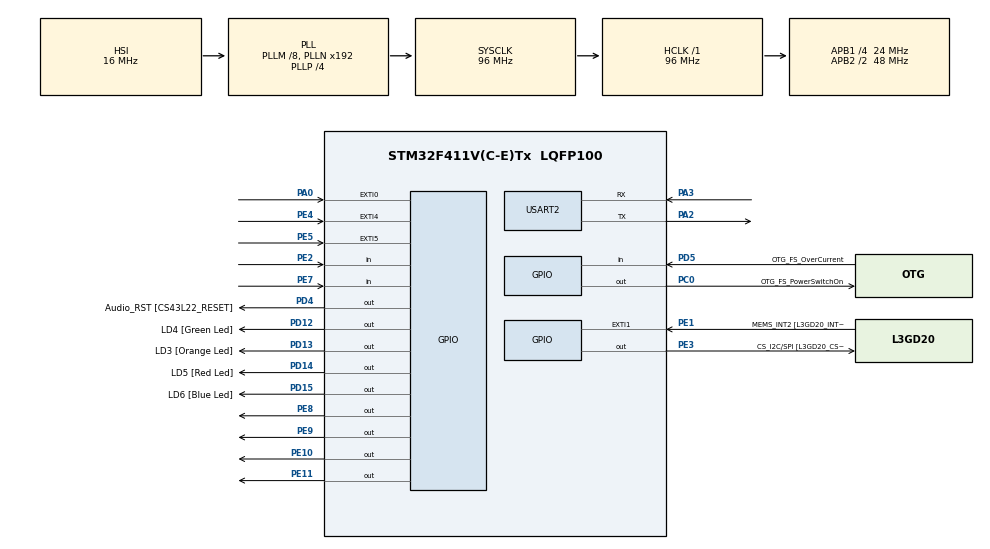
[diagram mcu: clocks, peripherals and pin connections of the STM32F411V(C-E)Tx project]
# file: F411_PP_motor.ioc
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Mcu.Family=STM32F4
Mcu.Name=STM32F411V(C-E)Tx
Mcu.Package=LQFP100
NVIC.PriorityGroup=NVIC_PRIORITYGROUP_0
PA0-WKUP.GPIO_ModeDefaultEXTI=GPIO_MODE_EVT_RISING
PA0-WKUP.Signal=GPXTI0
PA10.GPIO_Label=OTG_FS_ID
PA10.Signal=USB_OTG_FS_ID
PA11.GPIO_Label=OTG_FS_DM
PA11.Signal=USB_OTG_FS_DM
PA12.GPIO_Label=OTG_FS_DP
PA12.Signal=USB_OTG_FS_DP
PA13.GPIO_Label=SWDIO
PA13.Signal=SYS_JTMS-SWDIO
PA14.GPIO_Label=SWCLK
PA14.Signal=SYS_JTCK-SWCLK
PA2.Mode=Asynchronous
PA2.Signal=USART2_TX
PA3.Mode=Asynchronous
PA3.Signal=USART2_RX
PA4.GPIO_Label=I2S3_WS [CS43L22_LRCK]
PA4.GPIO_Mode=GPIO_MODE_AF_PP
PA4.GPIO_PuPd=GPIO_NOPULL
PA4.GPIO_Speed=GPIO_SPEED_FREQ_LOW
PA4.Signal=I2S3_WS
PA5.GPIO_Label=SPI1_SCK [L3GD20_SC/SPC]
PA5.Signal=SPI1_SCK
PA6.GPIO_Label=SPI1_MISO [L3GD20_AS0/SDO]
PA6.Signal=SPI1_MISO
PA7.GPIO_Label=SPI1_MOSI [L3GD20_SDA/SDI/SDO]
PA7.Signal=SPI1_MOSI
PA9.GPIO_Label=VBUS_FS
PA9.Signal=USB_OTG_FS_VBUS
PB10.GPIO_Label=CLK_IN [MP45DT02_CLK]
PB10.Signal=I2S2_CK
PB12.Signal=I2S2_WS
PB3.GPIO_Label=SWO
PB3.Signal=SYS_JTDO-SWO
PB6.GPIO_Label=Audio_SCL [CS43L22_SCL]
PB6.GPIO_Mode=GPIO_MODE_AF_OD
PB6.GPIO_PuPd=GPIO_NOPULL
PB6.GPIO_Speed=GPIO_SPEED_FREQ_LOW
PB6.Signal=I2C1_SCL
PB9.GPIO_Label=Audio_SDA [CS43L22_SDA]
PB9.GPIO_Mode=GPIO_MODE_AF_OD
PB9.GPIO_PuPd=GPIO_NOPULL
PB9.GPIO_Speed=GPIO_SPEED_FREQ_LOW
PB9.Signal=I2C1_SDA
PC0.GPIO_Label=OTG_FS_PowerSwitchOn
PC0.PinState=GPIO_PIN_SET
PC0.Signal=GPIO_Output
PC10.GPIO_Label=I2S3_SCK [CS43L22_SCLK]
PC10.GPIO_Mode=GPIO_MODE_AF_PP
PC10.GPIO_PuPd=GPIO_NOPULL
PC10.GPIO_Speed=GPIO_SPEED_FREQ_LOW
PC10.Signal=I2S3_CK
PC12.GPIO_Label=I2S3_SD [CS43L22_SDIN]
PC12.GPIO_Mode=GPIO_MODE_AF_PP
PC12.GPIO_PuPd=GPIO_NOPULL
PC12.GPIO_Speed=GPIO_SPEED_FREQ_LOW
PC12.Signal=I2S3_SD
PC14-OSC32_IN.GPIO_Label=PC14-OSC32_IN
PC14-OSC32_IN.Signal=RCC_OSC32_IN
PC15-OSC32_OUT.GPIO_Label=PC15-OSC32_OUT
PC15-OSC32_OUT.Signal=RCC_OSC32_OUT
PC3.GPIO_Label=PDM_OUT [MP45DT02_DOUT]
PC3.Signal=I2S2_SD
PC7.GPIO_Label=I2S3_MCK [CS43L22_MCLK]
PC7.GPIO_Mode=GPIO_MODE_AF_PP
PC7.GPIO_PuPd=GPIO_NOPULL
PC7.GPIO_Speed=GPIO_SPEED_FREQ_LOW
PC7.Signal=I2S3_MCK
PD12.GPIO_Label=LD4 [Green Led]
PD12.GPIO_PuPd=GPIO_NOPULL
PD12.GPIO_Speed=GPIO_SPEED_FREQ_LOW
PD12.Signal=GPIO_Output
PD13.GPIO_Label=LD3 [Orange Led]
PD13.GPIO_PuPd=GPIO_NOPULL
PD13.GPIO_Speed=GPIO_SPEED_FREQ_LOW
PD13.Signal=GPIO_Output
PD14.GPIO_Label=LD5 [Red Led]
PD14.GPIO_PuPd=GPIO_NOPULL
PD14.GPIO_Speed=GPIO_SPEED_FREQ_LOW
PD14.Signal=GPIO_Output
PD15.GPIO_Label=LD6 [Blue Led]
PD15.GPIO_PuPd=GPIO_NOPULL
PD15.GPIO_Speed=GPIO_SPEED_FREQ_LOW
PD15.Signal=GPIO_Output
PD4.GPIO_Label=Audio_RST [CS43L22_RESET]
PD4.Signal=GPIO_Output
PD5.GPIO_Label=OTG_FS_OverCurrent
PD5.Signal=GPIO_Input
PE1.GPIO_Label=MEMS_INT2 [L3GD20_INT2]
PE1.GPIO_ModeDefaultEXTI=GPIO_MODE_EVT_RISING
PE1.Signal=GPXTI1
PE10.Signal=GPIO_Output
PE11.Signal=GPIO_Output
PE2.Signal=GPIO_Input
PE3.GPIO_Label=CS_I2C/SPI [L3GD20_CS_I2C/SPI]
PE3.Signal=GPIO_Output
PE4.GPIO_ModeDefaultEXTI=GPIO_MODE_EVT_RISING
PE4.Signal=GPXTI4
PE5.GPIO_ModeDefaultEXTI=GPIO_MODE_EVT_RISING
PE5.Signal=GPXTI5
PE7.Signal=GPIO_Input
PE8.Signal=GPIO_Output
PE9.Signal=GPIO_Output
PH0\ -\ OSC_IN.GPIO_Label=PH0-OSC_IN
PH0\ -\ OSC_IN.Signal=RCC_OSC_IN
PH1\ -\ OSC_OUT.GPIO_Label=PH1-OSC_OUT
PH1\ -\ OSC_OUT.Signal=RCC_OSC_OUT
ProjectManager.HeapSize=0x200
ProjectManager.StackSize=0x400
ProjectManager.TargetToolchain=STM32CubeIDE
RCC.48MHZClocksFreq_Value=48000000
RCC.AHBFreq_Value=96000000
RCC.APB1CLKDivider=RCC_HCLK_DIV4
RCC.APB1Freq_Value=24000000
RCC.APB1TimFreq_Value=48000000
RCC.APB2CLKDivider=RCC_HCLK_DIV2
RCC.APB2Freq_Value=48000000
RCC.APB2TimFreq_Value=96000000
RCC.CortexFreq_Value=96000000
RCC.HCLKFreq_Value=96000000
RCC.HSE_VALUE=8000000
RCC.HSI_VALUE=16000000
RCC.LSE_VALUE=32768
RCC.PLLI2SM=5
RCC.PLLI2SN=200
RCC.PLLM=8
RCC.PLLP=RCC_PLLP_DIV4
RCC.PLLQ=8
RCC.SYSCLKFreq_VALUE=96000000
RCC.SYSCLKSource=RCC_SYSCLKSOURCE_PLLCLK
RCC.VCOOutputFreq_Value=384000000
USART2.VirtualMode=VM_ASYNC
board=STM32F411E-DISCO

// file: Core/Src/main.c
/* USER CODE BEGIN Header */
/**
  ******************************************************************************
  * @file           : main.c
  * @brief          : Main program body
  ******************************************************************************
  * @attention
  *
  * Copyright (c) 2022 STMicroelectronics.
  * All rights reserved.
  *
  * This software is licensed under terms that can be found in the LICENSE file
  * in the root directory of this software component.
  * If no LICENSE file comes with this software, it is provided AS-IS.
  *
  ******************************************************************************
  */
/* USER CODE END Header */
#include "main.h"

/* USER CODE BEGIN Includes */
#include "stdio.h"
#include "string.h"
/* USER CODE END Includes */

UART_HandleTypeDef huart2;

/* USER CODE BEGIN PV */
uint8_t stato = 0;
float angolo = 0;
char msg[60];

/* USER CODE END PV */

void SystemClock_Config(void);
static void MX_GPIO_Init(void);
static void MX_USART2_UART_Init(void);
/* USER CODE BEGIN PFP */

void taratura (void); // funzione taratura

/* USER CODE END PFP */

int main(void)
{

  /* MCU Configuration--------------------------------------------------------*/

  /* Reset of all peripherals, Initializes the Flash interface and the Systick. */
  HAL_Init();

  /* Configure the system clock */
  SystemClock_Config();

  /* Initialize all configured peripherals */
  MX_GPIO_Init();
  MX_USART2_UART_Init();
  /* USER CODE BEGIN 2 */

  taratura();

  /* USER CODE END 2 */

  /* Infinite loop */
  while (1)
  {

    /* USER CODE BEGIN 3 */

	  		  HAL_Delay(10);
	  		  switch (stato){
	  		  case 0:
	  		  	  HAL_GPIO_WritePin(GPIOE, GPIO_PIN_8, GPIO_PIN_SET);
	  		  	  HAL_GPIO_WritePin(GPIOE, GPIO_PIN_9, GPIO_PIN_RESET);
	  		  	  HAL_GPIO_WritePin(GPIOE, GPIO_PIN_10, GPIO_PIN_RESET);
	  		  	  HAL_GPIO_WritePin(GPIOE, GPIO_PIN_11, GPIO_PIN_RESET);
	  		  	  break;
	  		  case 1:
	  		  	  HAL_GPIO_WritePin(GPIOE, GPIO_PIN_8, GPIO_PIN_SET);
	  		  	  HAL_GPIO_WritePin(GPIOE, GPIO_PIN_9, GPIO_PIN_SET);
	  		  	  HAL_GPIO_WritePin(GPIOE, GPIO_PIN_10, GPIO_PIN_RESET);
	  		  	  HAL_GPIO_WritePin(GPIOE, GPIO_PIN_11, GPIO_PIN_RESET);
	  		  	  break;
	  		  case 2:
	  		  	  HAL_GPIO_WritePin(GPIOE, GPIO_PIN_8, GPIO_PIN_RESET);
	  		  	  HAL_GPIO_WritePin(GPIOE, GPIO_PIN_9, GPIO_PIN_SET);
	  		  	  HAL_GPIO_WritePin(GPIOE, GPIO_PIN_10, GPIO_PIN_RESET);
	  		  	  HAL_GPIO_WritePin(GPIOE, GPIO_PIN_11, GPIO_PIN_RESET);
	  		  	  break;
	  		  case 3:
	  		  	  HAL_GPIO_WritePin(GPIOE, GPIO_PIN_8, GPIO_PIN_RESET);
	  		  	  HAL_GPIO_WritePin(GPIOE, GPIO_PIN_9, GPIO_PIN_SET);
	  		  	  HAL_GPIO_WritePin(GPIOE, GPIO_PIN_10, GPIO_PIN_SET);
	  		  	  HAL_GPIO_WritePin(GPIOE, GPIO_PIN_11, GPIO_PIN_RESET);
	  		  	  break;
	  		  case 4:
	  		  	  HAL_GPIO_WritePin(GPIOE, GPIO_PIN_8, GPIO_PIN_RESET);
	  		  	  HAL_GPIO_WritePin(GPIOE, GPIO_PIN_9, GPIO_PIN_RESET);
	  		  	  HAL_GPIO_WritePin(GPIOE, GPIO_PIN_10, GPIO_PIN_SET);
	  		  	  HAL_GPIO_WritePin(GPIOE, GPIO_PIN_11, GPIO_PIN_RESET);
	  		  	  break;
	  		  case 5:
	  		  	  HAL_GPIO_WritePin(GPIOE, GPIO_PIN_8, GPIO_PIN_RESET);
	  		  	  HAL_GPIO_WritePin(GPIOE, GPIO_PIN_9, GPIO_PIN_RESET);
	  		  	  HAL_GPIO_WritePin(GPIOE, GPIO_PIN_10, GPIO_PIN_SET);
	  		  	  HAL_GPIO_WritePin(GPIOE, GPIO_PIN_11, GPIO_PIN_SET);
	  		  	  break;
	  		  case 6:
	  		  	  HAL_GPIO_WritePin(GPIOE, GPIO_PIN_8, GPIO_PIN_RESET);
	  		  	  HAL_GPIO_WritePin(GPIOE, GPIO_PIN_9, GPIO_PIN_RESET);
	  		  	  HAL_GPIO_WritePin(GPIOE, GPIO_PIN_10, GPIO_PIN_RESET);
	  		  	  HAL_GPIO_WritePin(GPIOE, GPIO_PIN_11, GPIO_PIN_SET);
	  		  	  break;
	  		  case 7:
	  		  	  HAL_GPIO_WritePin(GPIOE, GPIO_PIN_8, GPIO_PIN_SET);
	  		  	  HAL_GPIO_WritePin(GPIOE, GPIO_PIN_9, GPIO_PIN_RESET);
	  		  	  HAL_GPIO_WritePin(GPIOE, GPIO_PIN_10, GPIO_PIN_RESET);
	  		  	  HAL_GPIO_WritePin(GPIOE, GPIO_PIN_11, GPIO_PIN_SET);
	  		  	  break;
	  	}
	  		  (stato > 7) ? (stato = 0): (stato=stato+1);

	  		  (angolo > 360) ? (angolo = 0): (angolo=angolo+0.08789);

	  		  if (HAL_GPIO_ReadPin(GPIOE, GPIO_PIN_7))
			{
				sprintf(msg, "%f \n\n", angolo);
				HAL_UART_Transmit(&huart2,(uint8_t*)msg, strlen(msg), HAL_MAX_DELAY);
			}

  }
  /* USER CODE END 3 */
}

void SystemClock_Config(void)
{
  RCC_OscInitTypeDef RCC_OscInitStruct = {0};
  RCC_ClkInitTypeDef RCC_ClkInitStruct = {0};

  /** Configure the main internal regulator output voltage
  */
  __HAL_RCC_PWR_CLK_ENABLE();
  __HAL_PWR_VOLTAGESCALING_CONFIG(PWR_REGULATOR_VOLTAGE_SCALE1);
  /** Initializes the RCC Oscillators according to the specified parameters
  * in the RCC_OscInitTypeDef structure.
  */
  RCC_OscInitStruct.OscillatorType = RCC_OSCILLATORTYPE_HSI;
  RCC_OscInitStruct.HSIState = RCC_HSI_ON;
  RCC_OscInitStruct.HSICalibrationValue = RCC_HSICALIBRATION_DEFAULT;
  RCC_OscInitStruct.PLL.PLLState = RCC_PLL_ON;
  RCC_OscInitStruct.PLL.PLLSource = RCC_PLLSOURCE_HSI;
  RCC_OscInitStruct.PLL.PLLM = 8;
  RCC_OscInitStruct.PLL.PLLN = 192;
  RCC_OscInitStruct.PLL.PLLP = RCC_PLLP_DIV4;
  RCC_OscInitStruct.PLL.PLLQ = 8;
  if (HAL_RCC_OscConfig(&RCC_OscInitStruct) != HAL_OK)
  {
    Error_Handler();
  }
  /** Initializes the CPU, AHB and APB buses clocks
  */
  RCC_ClkInitStruct.ClockType = RCC_CLOCKTYPE_HCLK|RCC_CLOCKTYPE_SYSCLK
                              |RCC_CLOCKTYPE_PCLK1|RCC_CLOCKTYPE_PCLK2;
  RCC_ClkInitStruct.SYSCLKSource = RCC_SYSCLKSOURCE_PLLCLK;
  RCC_ClkInitStruct.AHBCLKDivider = RCC_SYSCLK_DIV1;
  RCC_ClkInitStruct.APB1CLKDivider = RCC_HCLK_DIV4;
  RCC_ClkInitStruct.APB2CLKDivider = RCC_HCLK_DIV2;

  if (HAL_RCC_ClockConfig(&RCC_ClkInitStruct, FLASH_LATENCY_3) != HAL_OK)
  {
    Error_Handler();
  }
}

static void MX_USART2_UART_Init(void)
{

  huart2.Instance = USART2;
  huart2.Init.BaudRate = 115200;
  huart2.Init.WordLength = UART_WORDLENGTH_8B;
  huart2.Init.StopBits = UART_STOPBITS_1;
  huart2.Init.Parity = UART_PARITY_NONE;
  huart2.Init.Mode = UART_MODE_TX_RX;
  huart2.Init.HwFlowCtl = UART_HWCONTROL_NONE;
  huart2.Init.OverSampling = UART_OVERSAMPLING_16;
  if (HAL_UART_Init(&huart2) != HAL_OK)
  {
    Error_Handler();
  }

}

static void MX_GPIO_Init(void)
{
  GPIO_InitTypeDef GPIO_InitStruct = {0};

  /* GPIO Ports Clock Enable */
  __HAL_RCC_GPIOE_CLK_ENABLE();
  __HAL_RCC_GPIOC_CLK_ENABLE();
  __HAL_RCC_GPIOH_CLK_ENABLE();
  __HAL_RCC_GPIOA_CLK_ENABLE();
  __HAL_RCC_GPIOB_CLK_ENABLE();
  __HAL_RCC_GPIOD_CLK_ENABLE();

  /*Configure GPIO pin Output Level */
  HAL_GPIO_WritePin(GPIOE, CS_I2C_SPI_Pin|GPIO_PIN_8|GPIO_PIN_9|GPIO_PIN_10
                          |GPIO_PIN_11, GPIO_PIN_RESET);

  /*Configure GPIO pin Output Level */
  HAL_GPIO_WritePin(OTG_FS_PowerSwitchOn_GPIO_Port, OTG_FS_PowerSwitchOn_Pin, GPIO_PIN_SET);

  /*Configure GPIO pin Output Level */
  HAL_GPIO_WritePin(GPIOD, LD4_Pin|LD3_Pin|LD5_Pin|LD6_Pin
                          |Audio_RST_Pin, GPIO_PIN_RESET);

  /*Configure GPIO pins : PE2 PE7 */
  GPIO_InitStruct.Pin = GPIO_PIN_2|GPIO_PIN_7;
  GPIO_InitStruct.Mode = GPIO_MODE_INPUT;
  GPIO_InitStruct.Pull = GPIO_NOPULL;
  HAL_GPIO_Init(GPIOE, &GPIO_InitStruct);

  /*Configure GPIO pins : CS_I2C_SPI_Pin PE8 PE9 PE10
                           PE11 */
  GPIO_InitStruct.Pin = CS_I2C_SPI_Pin|GPIO_PIN_8|GPIO_PIN_9|GPIO_PIN_10
                          |GPIO_PIN_11;
  GPIO_InitStruct.Mode = GPIO_MODE_OUTPUT_PP;
  GPIO_InitStruct.Pull = GPIO_NOPULL;
  GPIO_InitStruct.Speed = GPIO_SPEED_FREQ_LOW;
  HAL_GPIO_Init(GPIOE, &GPIO_InitStruct);

  /*Configure GPIO pins : PE4 PE5 MEMS_INT2_Pin */
  GPIO_InitStruct.Pin = GPIO_PIN_4|GPIO_PIN_5|MEMS_INT2_Pin;
  GPIO_InitStruct.Mode = GPIO_MODE_EVT_RISING;
  GPIO_InitStruct.Pull = GPIO_NOPULL;
  HAL_GPIO_Init(GPIOE, &GPIO_InitStruct);

  /*Configure GPIO pin : OTG_FS_PowerSwitchOn_Pin */
  GPIO_InitStruct.Pin = OTG_FS_PowerSwitchOn_Pin;
  GPIO_InitStruct.Mode = GPIO_MODE_OUTPUT_PP;
  GPIO_InitStruct.Pull = GPIO_NOPULL;
  GPIO_InitStruct.Speed = GPIO_SPEED_FREQ_LOW;
  HAL_GPIO_Init(OTG_FS_PowerSwitchOn_GPIO_Port, &GPIO_InitStruct);

  /*Configure GPIO pin : PDM_OUT_Pin */
  GPIO_InitStruct.Pin = PDM_OUT_Pin;
  GPIO_InitStruct.Mode = GPIO_MODE_AF_PP;
  GPIO_InitStruct.Pull = GPIO_NOPULL;
  GPIO_InitStruct.Speed = GPIO_SPEED_FREQ_LOW;
  GPIO_InitStruct.Alternate = GPIO_AF5_SPI2;
  HAL_GPIO_Init(PDM_OUT_GPIO_Port, &GPIO_InitStruct);

  /*Configure GPIO pin : PA0 */
  GPIO_InitStruct.Pin = GPIO_PIN_0;
  GPIO_InitStruct.Mode = GPIO_MODE_EVT_RISING;
  GPIO_InitStruct.Pull = GPIO_NOPULL;
  HAL_GPIO_Init(GPIOA, &GPIO_InitStruct);

  /*Configure GPIO pin : I2S3_WS_Pin */
  GPIO_InitStruct.Pin = I2S3_WS_Pin;
  GPIO_InitStruct.Mode = GPIO_MODE_AF_PP;
  GPIO_InitStruct.Pull = GPIO_NOPULL;
  GPIO_InitStruct.Speed = GPIO_SPEED_FREQ_LOW;
  GPIO_InitStruct.Alternate = GPIO_AF6_SPI3;
  HAL_GPIO_Init(I2S3_WS_GPIO_Port, &GPIO_InitStruct);

  /*Configure GPIO pins : SPI1_SCK_Pin SPI1_MISO_Pin SPI1_MOSI_Pin */
  GPIO_InitStruct.Pin = SPI1_SCK_Pin|SPI1_MISO_Pin|SPI1_MOSI_Pin;
  GPIO_InitStruct.Mode = GPIO_MODE_AF_PP;
  GPIO_InitStruct.Pull = GPIO_NOPULL;
  GPIO_InitStruct.Speed = GPIO_SPEED_FREQ_VERY_HIGH;
  GPIO_InitStruct.Alternate = GPIO_AF5_SPI1;
  HAL_GPIO_Init(GPIOA, &GPIO_InitStruct);

  /*Configure GPIO pins : CLK_IN_Pin PB12 */
  GPIO_InitStruct.Pin = CLK_IN_Pin|GPIO_PIN_12;
  GPIO_InitStruct.Mode = GPIO_MODE_AF_PP;
  GPIO_InitStruct.Pull = GPIO_NOPULL;
  GPIO_InitStruct.Speed = GPIO_SPEED_FREQ_LOW;
  GPIO_InitStruct.Alternate = GPIO_AF5_SPI2;
  HAL_GPIO_Init(GPIOB, &GPIO_InitStruct);

  /*Configure GPIO pins : LD4_Pin LD3_Pin LD5_Pin LD6_Pin
                           Audio_RST_Pin */
  GPIO_InitStruct.Pin = LD4_Pin|LD3_Pin|LD5_Pin|LD6_Pin
                          |Audio_RST_Pin;
  GPIO_InitStruct.Mode = GPIO_MODE_OUTPUT_PP;
  GPIO_InitStruct.Pull = GPIO_NOPULL;
  GPIO_InitStruct.Speed = GPIO_SPEED_FREQ_LOW;
  HAL_GPIO_Init(GPIOD, &GPIO_InitStruct);

  /*Configure GPIO pins : I2S3_MCK_Pin I2S3_SCK_Pin I2S3_SD_Pin */
  GPIO_InitStruct.Pin = I2S3_MCK_Pin|I2S3_SCK_Pin|I2S3_SD_Pin;
  GPIO_InitStruct.Mode = GPIO_MODE_AF_PP;
  GPIO_InitStruct.Pull = GPIO_NOPULL;
  GPIO_InitStruct.Speed = GPIO_SPEED_FREQ_LOW;
  GPIO_InitStruct.Alternate = GPIO_AF6_SPI3;
  HAL_GPIO_Init(GPIOC, &GPIO_InitStruct);

  /*Configure GPIO pin : VBUS_FS_Pin */
  GPIO_InitStruct.Pin = VBUS_FS_Pin;
  GPIO_InitStruct.Mode = GPIO_MODE_INPUT;
  GPIO_InitStruct.Pull = GPIO_NOPULL;
  HAL_GPIO_Init(VBUS_FS_GPIO_Port, &GPIO_InitStruct);

  /*Configure GPIO pins : OTG_FS_ID_Pin OTG_FS_DM_Pin OTG_FS_DP_Pin */
  GPIO_InitStruct.Pin = OTG_FS_ID_Pin|OTG_FS_DM_Pin|OTG_FS_DP_Pin;
  GPIO_InitStruct.Mode = GPIO_MODE_AF_PP;
  GPIO_InitStruct.Pull = GPIO_NOPULL;
  GPIO_InitStruct.Speed = GPIO_SPEED_FREQ_VERY_HIGH;
  GPIO_InitStruct.Alternate = GPIO_AF10_OTG_FS;
  HAL_GPIO_Init(GPIOA, &GPIO_InitStruct);

  /*Configure GPIO pin : OTG_FS_OverCurrent_Pin */
  GPIO_InitStruct.Pin = OTG_FS_OverCurrent_Pin;
  GPIO_InitStruct.Mode = GPIO_MODE_INPUT;
  GPIO_InitStruct.Pull = GPIO_NOPULL;
  HAL_GPIO_Init(OTG_FS_OverCurrent_GPIO_Port, &GPIO_InitStruct);

  /*Configure GPIO pins : Audio_SCL_Pin Audio_SDA_Pin */
  GPIO_InitStruct.Pin = Audio_SCL_Pin|Audio_SDA_Pin;
  GPIO_InitStruct.Mode = GPIO_MODE_AF_OD;
  GPIO_InitStruct.Pull = GPIO_NOPULL;
  GPIO_InitStruct.Speed = GPIO_SPEED_FREQ_LOW;
  GPIO_InitStruct.Alternate = GPIO_AF4_I2C1;
  HAL_GPIO_Init(GPIOB, &GPIO_InitStruct);

}

/* USER CODE BEGIN 4 */
void taratura(void)
{
	HAL_GPIO_WritePin(GPIOD, GPIO_PIN_15, GPIO_PIN_SET);

	for (uint16_t i=0; i<4096; i++){
		  HAL_Delay(10);
		  switch (stato){
		  case 0:
		  	  HAL_GPIO_WritePin(GPIOE, GPIO_PIN_8, GPIO_PIN_SET);
		  	  HAL_GPIO_WritePin(GPIOE, GPIO_PIN_9, GPIO_PIN_RESET);
		  	  HAL_GPIO_WritePin(GPIOE, GPIO_PIN_10, GPIO_PIN_RESET);
		  	  HAL_GPIO_WritePin(GPIOE, GPIO_PIN_11, GPIO_PIN_RESET);
		  	  break;
		  case 1:
		  	  HAL_GPIO_WritePin(GPIOE, GPIO_PIN_8, GPIO_PIN_SET);
		  	  HAL_GPIO_WritePin(GPIOE, GPIO_PIN_9, GPIO_PIN_SET);
		  	  HAL_GPIO_WritePin(GPIOE, GPIO_PIN_10, GPIO_PIN_RESET);
		  	  HAL_GPIO_WritePin(GPIOE, GPIO_PIN_11, GPIO_PIN_RESET);
		  	  break;
		  case 2:
		  	  HAL_GPIO_WritePin(GPIOE, GPIO_PIN_8, GPIO_PIN_RESET);
		  	  HAL_GPIO_WritePin(GPIOE, GPIO_PIN_9, GPIO_PIN_SET);
		  	  HAL_GPIO_WritePin(GPIOE, GPIO_PIN_10, GPIO_PIN_RESET);
		  	  HAL_GPIO_WritePin(GPIOE, GPIO_PIN_11, GPIO_PIN_RESET);
		  	  break;
		  case 3:
		  	  HAL_GPIO_WritePin(GPIOE, GPIO_PIN_8, GPIO_PIN_RESET);
		  	  HAL_GPIO_WritePin(GPIOE, GPIO_PIN_9, GPIO_PIN_SET);
		  	  HAL_GPIO_WritePin(GPIOE, GPIO_PIN_10, GPIO_PIN_SET);
		  	  HAL_GPIO_WritePin(GPIOE, GPIO_PIN_11, GPIO_PIN_RESET);
		  	  break;
		  case 4:
		  	  HAL_GPIO_WritePin(GPIOE, GPIO_PIN_8, GPIO_PIN_RESET);
		  	  HAL_GPIO_WritePin(GPIOE, GPIO_PIN_9, GPIO_PIN_RESET);
		  	  HAL_GPIO_WritePin(GPIOE, GPIO_PIN_10, GPIO_PIN_SET);
		  	  HAL_GPIO_WritePin(GPIOE, GPIO_PIN_11, GPIO_PIN_RESET);
		  	  break;
		  case 5:
		  	  HAL_GPIO_WritePin(GPIOE, GPIO_PIN_8, GPIO_PIN_RESET);
		  	  HAL_GPIO_WritePin(GPIOE, GPIO_PIN_9, GPIO_PIN_RESET);
		  	  HAL_GPIO_WritePin(GPIOE, GPIO_PIN_10, GPIO_PIN_SET);
		  	  HAL_GPIO_WritePin(GPIOE, GPIO_PIN_11, GPIO_PIN_SET);
		  	  break;
		  case 6:
		  	  HAL_GPIO_WritePin(GPIOE, GPIO_PIN_8, GPIO_PIN_RESET);
		  	  HAL_GPIO_WritePin(GPIOE, GPIO_PIN_9, GPIO_PIN_RESET);
		  	  HAL_GPIO_WritePin(GPIOE, GPIO_PIN_10, GPIO_PIN_RESET);
		  	  HAL_GPIO_WritePin(GPIOE, GPIO_PIN_11, GPIO_PIN_SET);
		  	  break;
		  case 7:
		  	  HAL_GPIO_WritePin(GPIOE, GPIO_PIN_8, GPIO_PIN_SET);
		  	  HAL_GPIO_WritePin(GPIOE, GPIO_PIN_9, GPIO_PIN_RESET);
		  	  HAL_GPIO_WritePin(GPIOE, GPIO_PIN_10, GPIO_PIN_RESET);
		  	  HAL_GPIO_WritePin(GPIOE, GPIO_PIN_11, GPIO_PIN_SET);
		  	  break;
	}
		  (stato > 7) ? (stato = 0): (stato=stato+1);
		  if (HAL_GPIO_ReadPin(GPIOE,GPIO_PIN_7)) i=4100;
	}
	stato=0;
	angolo=0;
	HAL_GPIO_WritePin(GPIOD,GPIO_PIN_15,GPIO_PIN_RESET);
	HAL_Delay(1000);
}

/* USER CODE END 4 */

void Error_Handler(void)
{
  __disable_irq();
  while (1)
  {
  }
}
